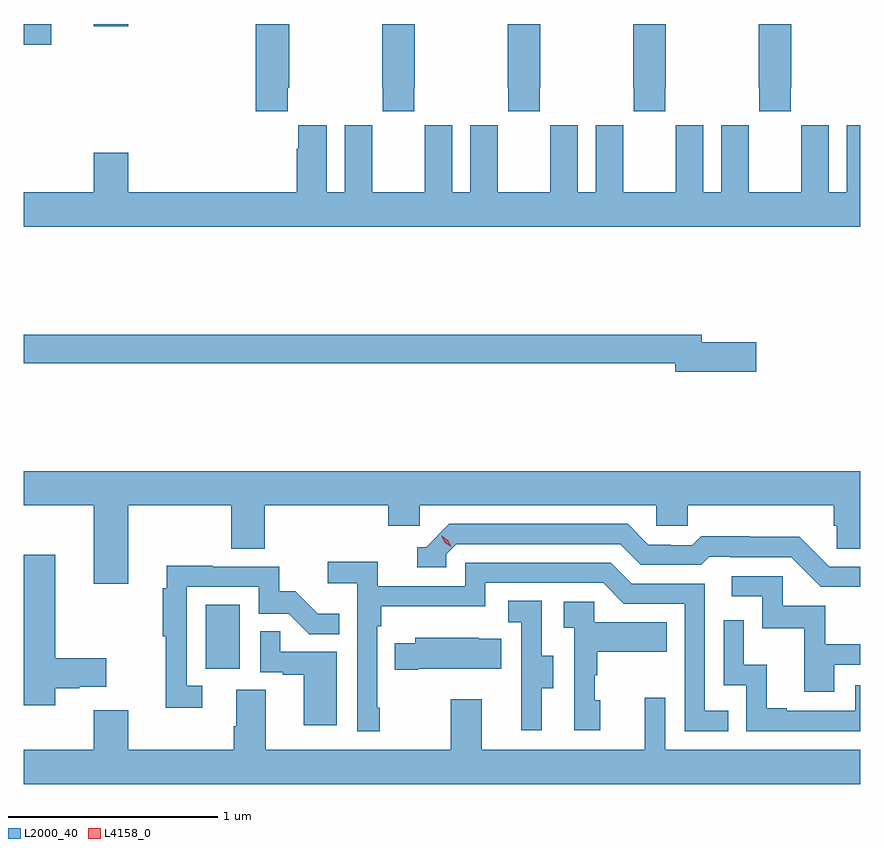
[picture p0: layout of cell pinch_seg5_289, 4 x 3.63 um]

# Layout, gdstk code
import gdstk
lib = gdstk.Library(unit=1e-6, precision=1e-09)
def R(c, l, rs):  # rectangles x0, y0, x1, y1
    for r in rs: c.add(gdstk.rectangle(r[:2], r[2:], *l))
def P(c, l, *ps):  # polygons
    for p in ps: c.add(gdstk.Polygon(p, *l))
L2000_40 = (2000, 40)
L4158_0 = (4158, 0)

pinch_seg5_289 = lib.new_cell('pinch_seg5_289')
R(pinch_seg5_289, L2000_40, [(944.762,905.262,944.926,905.569), (943.892,908.247,944.023,908.345), (944.228,908.334,944.392,908.345)])
P(pinch_seg5_289, L2000_40, [(947.559,908.041),(947.562,908.041),(947.562,908.345),(947.407,908.345),(947.407,908.041),(947.409,908.041),(947.409,907.929),(947.559,907.929)],
  [(946.959,908.041),(946.962,908.041),(946.962,908.345),(946.807,908.345),(946.807,908.041),(946.809,908.041),(946.809,907.929),(946.959,907.929)],
  [(946.359,908.041),(946.362,908.041),(946.362,908.345),(946.207,908.345),(946.207,908.041),(946.209,908.041),(946.209,907.929),(946.359,907.929)],
  [(945.759,908.041),(945.762,908.041),(945.762,908.345),(945.607,908.345),(945.607,908.041),(945.609,908.041),(945.609,907.929),(945.759,907.929)],
  [(945.155,908.041),(945.162,908.041),(945.162,908.345),(945.002,908.345),(945.002,907.929),(945.155,907.929)],
  [(947.892,907.861),(947.828,907.861),(947.828,907.54),(947.74,907.54),(947.74,907.861),(947.61,907.861),(947.61,907.748),(947.609,907.748),(947.609,907.54),(947.359,907.54),(947.359,907.748),(947.358,907.748),(947.358,907.861),(947.228,907.861),(947.228,907.54),(947.14,907.54),(947.14,907.861),(947.01,907.861),(947.01,907.748),(947.009,907.748),(947.009,907.54),(946.759,907.54),(946.759,907.748),(946.758,907.748),(946.758,907.861),(946.628,907.861),(946.628,907.54),(946.54,907.54),(946.54,907.861),(946.41,907.861),(946.41,907.748),(946.409,907.748),(946.409,907.54),(946.159,907.54),(946.159,907.748),(946.158,907.748),(946.158,907.861),(946.028,907.861),(946.028,907.54),(945.94,907.54),(945.94,907.861),(945.81,907.861),(945.81,907.748),(945.809,907.748),(945.809,907.54),(945.559,907.54),(945.559,907.748),(945.558,907.748),(945.558,907.861),(945.428,907.861),(945.428,907.54),(945.34,907.54),(945.34,907.861),(945.206,907.861),(945.206,907.748),(945.197,907.748),(945.197,907.54),(944.392,907.54),(944.392,907.729),(944.228,907.729),(944.228,907.54),(943.892,907.54),(943.892,907.376),(947.892,907.376)],
  [(947.395,906.824),(947.134,906.824),(947.134,906.86),(943.892,906.86),(943.892,906.724),(947.006,906.724),(947.006,906.682),(947.395,906.682)],
  [(944.392,906.044),(944.884,906.044),(944.884,905.836),(945.044,905.836),(945.044,906.044),(945.635,906.044),(945.635,905.946),(945.786,905.946),(945.786,906.044),(946.917,906.044),(946.917,905.946),(947.067,905.946),(947.067,906.044),(947.765,906.044),(947.765,905.946),(947.779,905.946),(947.779,905.836),(947.892,905.836),(947.892,906.208),(943.892,906.208),(943.892,906.044),(944.228,906.044),(944.228,905.67),(944.392,905.67)],
  [(947.892,905.751),(947.742,905.751),(947.6,905.893),(947.364,905.893),(947.364,905.896),(947.131,905.896),(947.089,905.853),(946.986,905.853),(946.986,905.856),(946.879,905.856),(946.78,905.955),(945.927,905.955),(945.816,905.844),(945.773,905.844),(945.773,905.748),(945.912,905.748),(945.912,905.811),(945.96,905.859),(946.743,905.859),(946.842,905.76),(947.131,905.76),(947.17,905.799),(947.269,905.799),(947.269,905.796),(947.562,905.796),(947.703,905.655),(947.892,905.655)],
  [(944.044,905.17),(944.157,905.17),(944.157,905.177),(944.287,905.177),(944.287,905.312),(944.044,905.312),(944.044,905.809),(943.892,905.809),(943.892,905.088),(944.044,905.088)],
  [(945.595,905.077),(945.582,905.077),(945.582,905.465),(945.602,905.465),(945.602,905.561),(946.098,905.561),(946.098,905.673),(946.662,905.673),(946.761,905.574),(947.052,905.574),(947.052,904.965),(947.261,904.965),(947.261,905.061),(947.148,905.061),(947.148,905.67),(946.798,905.67),(946.699,905.769),(946.002,905.769),(946.002,905.658),(945.584,905.658),(945.584,905.774),(945.345,905.774),(945.345,905.672),(945.486,905.672),(945.486,904.965),(945.595,904.965)],
  [(944.746,905.181),(944.673,905.181),(944.673,905.655),(945.015,905.655),(945.015,905.526),(945.159,905.526),(945.257,905.428),(945.401,905.428),(945.401,905.527),(945.297,905.527),(945.19,905.634),(945.114,905.634),(945.114,905.751),(944.795,905.751),(944.795,905.756),(944.576,905.756),(944.576,905.648),(944.557,905.648),(944.557,905.418),(944.572,905.418),(944.572,905.076),(944.746,905.076)],
  [(947.767,905.283),(947.892,905.283),(947.892,905.379),(947.725,905.379),(947.725,905.565),(947.52,905.565),(947.52,905.706),(947.277,905.706),(947.277,905.61),(947.424,905.61),(947.424,905.457),(947.623,905.457),(947.623,905.154),(947.767,905.154)],
  [(946.369,905.17),(946.423,905.17),(946.423,905.325),(946.368,905.325),(946.368,905.588),(946.209,905.588),(946.209,905.485),(946.272,905.485),(946.272,905.181),(946.271,905.181),(946.271,904.968),(946.369,904.968)],
  [(946.648,905.112),(946.623,905.112),(946.623,905.231),(946.633,905.231),(946.633,905.345),(946.967,905.345),(946.967,905.485),(946.62,905.485),(946.62,905.583),(946.473,905.583),(946.473,905.459),(946.524,905.459),(946.524,904.968),(946.648,904.968)],
  [(947.892,905.184),(947.868,905.184),(947.868,905.061),(947.539,905.061),(947.539,905.074),(947.444,905.074),(947.444,905.282),(947.334,905.282),(947.334,905.494),(947.238,905.494),(947.238,905.184),(947.346,905.184),(947.346,904.965),(947.892,904.965)],
  [(945.388,905.343),(945.119,905.343),(945.119,905.441),(945.024,905.441),(945.024,905.247),(945.131,905.247),(945.131,905.235),(945.23,905.235),(945.23,904.992),(945.388,904.992)],
  [(945.778,905.264),(946.175,905.264),(946.175,905.407),(946.067,905.407),(946.067,905.41),(945.765,905.41),(945.765,905.386),(945.667,905.386),(945.667,905.257),(945.778,905.257)],
  [(947.892,904.876),(946.959,904.876),(946.959,905.125),(946.862,905.125),(946.862,904.876),(946.081,904.876),(946.081,905.116),(945.934,905.116),(945.934,904.876),(945.049,904.876),(945.049,905.162),(944.909,905.162),(944.909,904.988),(944.897,904.988),(944.897,904.876),(944.392,904.876),(944.392,905.065),(944.228,905.065),(944.228,904.876),(943.892,904.876),(943.892,904.712),(947.892,904.712)])
P(pinch_seg5_289, L4158_0, [(945.936,905.845),(945.906,905.865),(945.89,905.897),(945.89,905.898),(945.89,905.898),(945.92,905.878),(945.936,905.846),(945.936,905.845)])

lib.write_gds('pinch_seg5_289.gds')
